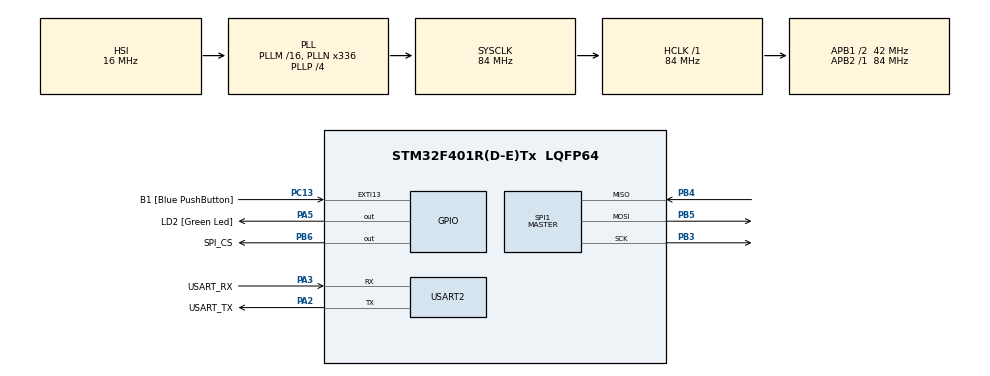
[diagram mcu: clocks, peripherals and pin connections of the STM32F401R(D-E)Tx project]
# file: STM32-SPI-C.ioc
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Mcu.Family=STM32F4
Mcu.Name=STM32F401R(D-E)Tx
Mcu.Package=LQFP64
NVIC.PriorityGroup=NVIC_PRIORITYGROUP_0
NVIC.TIM1_TRG_COM_TIM11_IRQn=true\:0\:0\:false\:false\:true\:true\:true
PA13.GPIO_Label=TMS
PA13.Mode=Serial_Wire
PA13.Signal=SYS_JTMS-SWDIO
PA14.GPIO_Label=TCK
PA14.Mode=Serial_Wire
PA14.Signal=SYS_JTCK-SWCLK
PA2.GPIO_Label=USART_TX
PA2.GPIO_Mode=GPIO_MODE_AF_PP
PA2.GPIO_PuPd=GPIO_NOPULL
PA2.GPIO_Speed=GPIO_SPEED_FREQ_LOW
PA2.Mode=Asynchronous
PA2.Signal=USART2_TX
PA3.GPIO_Label=USART_RX
PA3.GPIO_Mode=GPIO_MODE_AF_PP
PA3.GPIO_PuPd=GPIO_NOPULL
PA3.GPIO_Speed=GPIO_SPEED_FREQ_LOW
PA3.Mode=Asynchronous
PA3.Signal=USART2_RX
PA5.GPIO_Label=LD2 [Green Led]
PA5.GPIO_Mode=GPIO_MODE_OUTPUT_PP
PA5.GPIO_PuPd=GPIO_NOPULL
PA5.GPIO_Speed=GPIO_SPEED_FREQ_LOW
PA5.Signal=GPIO_Output
PB3.Mode=Full_Duplex_Master
PB3.Signal=SPI1_SCK
PB4.Mode=Full_Duplex_Master
PB4.Signal=SPI1_MISO
PB5.Mode=Full_Duplex_Master
PB5.Signal=SPI1_MOSI
PB6.GPIO_Label=SPI_CS
PB6.GPIO_Speed=GPIO_SPEED_FREQ_HIGH
PB6.PinState=GPIO_PIN_SET
PB6.Signal=GPIO_Output
PC13-ANTI_TAMP.GPIO_Label=B1 [Blue PushButton]
PC13-ANTI_TAMP.GPIO_ModeDefaultEXTI=GPIO_MODE_IT_FALLING
PC13-ANTI_TAMP.GPIO_PuPd=GPIO_NOPULL
PC13-ANTI_TAMP.Signal=GPXTI13
PC14-OSC32_IN.Mode=LSE-External-Oscillator
PC14-OSC32_IN.Signal=RCC_OSC32_IN
PC15-OSC32_OUT.Mode=LSE-External-Oscillator
PC15-OSC32_OUT.Signal=RCC_OSC32_OUT
PH0\ -\ OSC_IN.Mode=HSE-External-Clock-Source
PH0\ -\ OSC_IN.Signal=RCC_OSC_IN
PH1\ -\ OSC_OUT.Mode=HSE-External-Clock-Source
PH1\ -\ OSC_OUT.Signal=RCC_OSC_OUT
ProjectManager.HeapSize=0x200
ProjectManager.StackSize=0x400
ProjectManager.TargetToolchain=STM32CubeIDE
RCC.48MHZClocksFreq_Value=48000000
RCC.AHBFreq_Value=84000000
RCC.APB1CLKDivider=RCC_HCLK_DIV2
RCC.APB1Freq_Value=42000000
RCC.APB1TimFreq_Value=84000000
RCC.APB2Freq_Value=84000000
RCC.APB2TimFreq_Value=84000000
RCC.CortexFreq_Value=84000000
RCC.HCLKFreq_Value=84000000
RCC.HSE_VALUE=8000000
RCC.HSI_VALUE=16000000
RCC.PLLN=336
RCC.PLLP=RCC_PLLP_DIV4
RCC.PLLQ=7
RCC.SYSCLKFreq_VALUE=84000000
RCC.SYSCLKSource=RCC_SYSCLKSOURCE_PLLCLK
RCC.VCOOutputFreq_Value=336000000
SPI1.BaudRatePrescaler=SPI_BAUDRATEPRESCALER_128
SPI1.Direction=SPI_DIRECTION_2LINES
SPI1.Mode=SPI_MODE_MASTER
SPI1.VirtualType=VM_MASTER
TIM11.Period=40-1
TIM11.Prescaler=8400-1
USART2.VirtualMode=VM_ASYNC
VP_TIM11_VS_ClockSourceINT.Mode=Enable_Timer
board=NUCLEO-F401RE

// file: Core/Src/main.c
/* USER CODE BEGIN Header */
/**
  ******************************************************************************
  * @file           : main.c
  * @brief          : Main program body
  ******************************************************************************
  * @attention
  *
  * Copyright (c) 2022 STMicroelectronics.
  * All rights reserved.
  *
  * This software is licensed under terms that can be found in the LICENSE file
  * in the root directory of this software component.
  * If no LICENSE file comes with this software, it is provided AS-IS.
  *
  ******************************************************************************
  */
/* USER CODE END Header */
#include "main.h"
#include "spi.h"
#include "tim.h"
#include "usart.h"
#include "gpio.h"

/* USER CODE BEGIN Includes */
#include "MPU9250.h"
#include "stdlib.h"
#include "string.h"
#include "stdio.h"
#include "math.h"

/* USER CODE END Includes */

/* USER CODE BEGIN PD */
#define TRUE  1
#define FALSE 0
/* USER CODE END PD */

/* USER CODE BEGIN PV */
uint8_t serialBuf[100];
MPU9250_t MPU9250;
/* USER CODE END PV */

void SystemClock_Config(void);

int main(void)
{
  /* USER CODE BEGIN 1 */
  MPU9250.settings.gFullScaleRange = GFS_500DPS;
  MPU9250.settings.aFullScaleRange = AFS_4G;
  MPU9250.settings.CS_PIN = GPIO_PIN_6;
  MPU9250.settings.CS_PORT = GPIOB;
  MPU9250.attitude.tau = 0.98;
  MPU9250.attitude.dt = 0.004;
  /* USER CODE END 1 */

  /* MCU Configuration--------------------------------------------------------*/

  /* Reset of all peripherals, Initializes the Flash interface and the Systick. */
  HAL_Init();

  /* Configure the system clock */
  SystemClock_Config();

  /* Initialize all configured peripherals */
  MX_GPIO_Init();
  MX_USART2_UART_Init();
  MX_SPI1_Init();
  MX_TIM11_Init();
  /* USER CODE BEGIN 2 */

  // Check if IMU configured properly and block if it didn't
  if (MPU_begin(&hspi1, &MPU9250) != TRUE)
  {
    sprintf((char *)serialBuf, "ERROR!\r\n");
    HAL_UART_Transmit(&huart2, serialBuf, strlen((char *)serialBuf), HAL_MAX_DELAY);
    while (1){}
  }

  // Calibrate the IMU
  sprintf((char *)serialBuf, "CALIBRATING...\r\n");
  HAL_UART_Transmit(&huart2, serialBuf, strlen((char *)serialBuf), HAL_MAX_DELAY);
  MPU_calibrateGyro(&hspi1, &MPU9250, 1500);

  // Start timer and put processor into an efficient low power mode
  HAL_TIM_Base_Start_IT(&htim11);
  HAL_PWR_EnableSleepOnExit();
  HAL_PWR_EnterSLEEPMode(PWR_MAINREGULATOR_ON, PWR_SLEEPENTRY_WFI);
  /* USER CODE END 2 */

  /* Infinite loop */
  /* USER CODE BEGIN WHILE */
  // while (1)
  // {
    /* USER CODE END WHILE */

    /* USER CODE BEGIN 3 */
  // }
  /* USER CODE END 3 */
}

void SystemClock_Config(void)
{
  RCC_OscInitTypeDef RCC_OscInitStruct = {0};
  RCC_ClkInitTypeDef RCC_ClkInitStruct = {0};

  /** Configure the main internal regulator output voltage
  */
  __HAL_RCC_PWR_CLK_ENABLE();
  __HAL_PWR_VOLTAGESCALING_CONFIG(PWR_REGULATOR_VOLTAGE_SCALE2);
  /** Initializes the RCC Oscillators according to the specified parameters
  * in the RCC_OscInitTypeDef structure.
  */
  RCC_OscInitStruct.OscillatorType = RCC_OSCILLATORTYPE_HSI;
  RCC_OscInitStruct.HSIState = RCC_HSI_ON;
  RCC_OscInitStruct.HSICalibrationValue = RCC_HSICALIBRATION_DEFAULT;
  RCC_OscInitStruct.PLL.PLLState = RCC_PLL_ON;
  RCC_OscInitStruct.PLL.PLLSource = RCC_PLLSOURCE_HSI;
  RCC_OscInitStruct.PLL.PLLM = 16;
  RCC_OscInitStruct.PLL.PLLN = 336;
  RCC_OscInitStruct.PLL.PLLP = RCC_PLLP_DIV4;
  RCC_OscInitStruct.PLL.PLLQ = 7;
  if (HAL_RCC_OscConfig(&RCC_OscInitStruct) != HAL_OK)
  {
    Error_Handler();
  }
  /** Initializes the CPU, AHB and APB buses clocks
  */
  RCC_ClkInitStruct.ClockType = RCC_CLOCKTYPE_HCLK|RCC_CLOCKTYPE_SYSCLK
                              |RCC_CLOCKTYPE_PCLK1|RCC_CLOCKTYPE_PCLK2;
  RCC_ClkInitStruct.SYSCLKSource = RCC_SYSCLKSOURCE_PLLCLK;
  RCC_ClkInitStruct.AHBCLKDivider = RCC_SYSCLK_DIV1;
  RCC_ClkInitStruct.APB1CLKDivider = RCC_HCLK_DIV2;
  RCC_ClkInitStruct.APB2CLKDivider = RCC_HCLK_DIV1;

  if (HAL_RCC_ClockConfig(&RCC_ClkInitStruct, FLASH_LATENCY_2) != HAL_OK)
  {
    Error_Handler();
  }
}

/* USER CODE BEGIN 4 */
// Callback: timer has rolled over
void HAL_TIM_PeriodElapsedCallback(TIM_HandleTypeDef *htim)
{
  // Check if timer has triggered and update attitude
  if (htim == &htim11)
  {
    HAL_ResumeTick();

    MPU_calcAttitude(&hspi1, &MPU9250);
    int16_t roll = roundf(10 * MPU9250.attitude.r);
    uint8_t rollDecimal = abs(roll % 10);
    int16_t pitch = roundf(10 * MPU9250.attitude.p);
    uint8_t pitchDecimal = abs(pitch % 10);
    int16_t yaw = roundf(10 * MPU9250.attitude.y);
    uint8_t yawDecimal = abs(yaw % 10);

    sprintf((char *)serialBuf, "%d.%d,%d.%d,%d.%d\r\n", roll/10, rollDecimal, pitch/10, pitchDecimal, yaw/10, yawDecimal);
    HAL_UART_Transmit(&huart2, serialBuf, strlen((char *)serialBuf), HAL_MAX_DELAY);

    HAL_SuspendTick();
  }
}
/* USER CODE END 4 */

void Error_Handler(void)
{
  __disable_irq();
  while (1)
  {
  }
}
